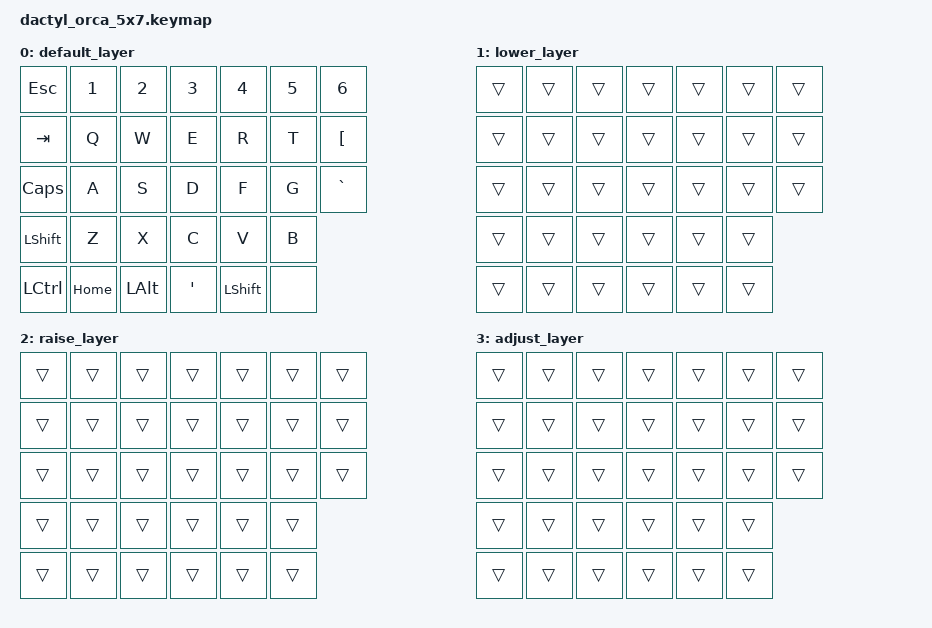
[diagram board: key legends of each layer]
#include <behaviors.dtsi>
#include <dt-bindings/zmk/keys.h>
#include <dt-bindings/zmk/bt.h>
#include <dt-bindings/zmk/outputs.h>

#define DEFAULT 0
#define LWR 1
#define RSE 2
#define ADJ 3

/ {

    keymap {
        compatible = "zmk,keymap";

        default_layer {
            bindings = <
                &kp ESC    &kp N1   &kp N2   &kp N3      &kp N4     &kp N5   &kp N6         
                &kp TAB    &kp Q    &kp W    &kp E       &kp R      &kp T    &kp LBKT      
                &kp CAPS   &kp A    &kp S    &kp D       &kp F      &kp G    &kp GRAVE     
                &kp LSHIFT &kp Z    &kp X    &kp C       &kp V      &kp B                            
                &kp LCTRL  &kp HOME &kp LALT &kp SQT     &kp LSHIFT &none                   
                                                     
                                                                                                                                                    
            >;
        };

        lower_layer {
            bindings = <
                &trans     &trans   &trans    &trans     &trans     &trans   &trans         
                &trans     &trans   &trans    &trans     &trans     &trans   &trans         
                &trans     &trans   &trans    &trans     &trans     &trans   &trans        
                &trans     &trans   &trans    &trans     &trans     &trans                          
                &trans     &trans   &trans    &trans     &trans     &trans                          
                                                         
                                             
                                             
                                             
            >;
        };

        raise_layer {
            bindings = <
                &trans     &trans   &trans   &trans      &trans     &trans   &trans         
                &trans     &trans   &trans   &trans      &trans     &trans   &trans         
                &trans     &trans   &trans   &trans      &trans     &trans   &trans        
                &trans     &trans   &trans   &trans      &trans     &trans                          
                &trans     &trans   &trans   &trans      &trans     &trans                   
                                                           
            >;
        };

        adjust_layer {
            bindings = <
                &trans     &trans   &trans   &trans      &trans     &trans   &trans         
                &trans     &trans   &trans   &trans      &trans     &trans   &trans         
                &trans     &trans   &trans   &trans      &trans     &trans   &trans        
                &trans     &trans   &trans   &trans      &trans     &trans                           
                &trans     &trans   &trans   &trans      &trans     &trans                          
                                                             
            >;
        };
    };
};
